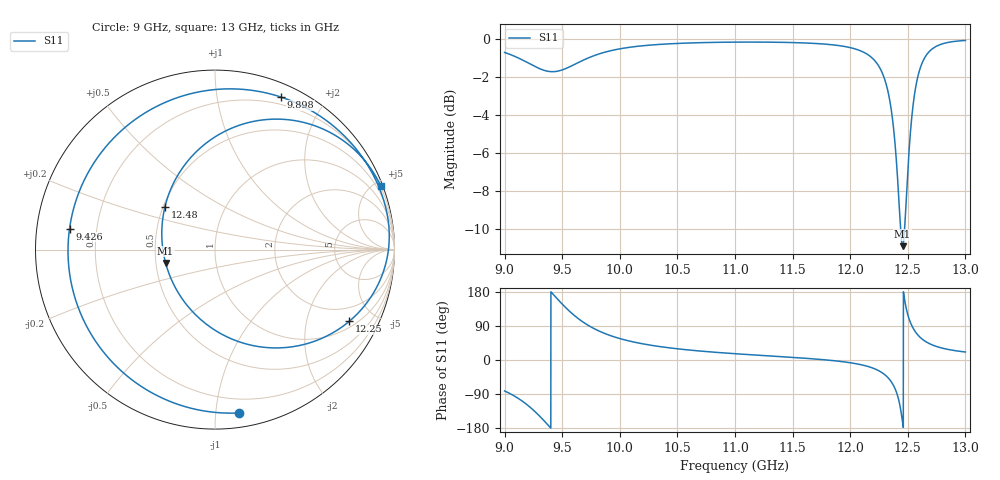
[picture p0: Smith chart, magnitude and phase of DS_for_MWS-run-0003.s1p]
! TOUCHSTONE file generated by CST DESIGN STUDIO
! Date and time: Wed Feb  5 13:32:10 2025
! Project name: C:\Work\MatlabApps\UnitCellOptimizationMatlab\CST\unitcell.cst
! Tree item: Tasks\Sweep1\SPara1\S-Parameters
! Header version: 2024
! Port assignment regex: !\s*Touchstone port\s*([0-9]+)\s*=\s*(CST MWS port|CST DES external port|CST DES block port)\s*(.+)\s* \(\"(.*)\"\)(\s*mode\s*([0-9]+))?.*
! Touchstone port assignment:
! Touchstone port 1 = CST DES external port 1 ("")
# GHz S MA R 50
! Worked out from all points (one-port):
!   4001 points, 9 GHz to 13 GHz, reference 50 ohm
!   lowest |S11| = -10.9 dB at 12.46 GHz (marker M1), VSWR 1.80, Z = 28.2 - j4.53 ohm
!   |S11| at or under -10 dB: 12.43771 GHz to 12.47218 GHz (34.48 MHz wide, 0.277 % of centre)
!   S11 on the Smith chart (normalised r, x): 9 GHz: 0.10, -1.15; 9.426 GHz: 0.10, +0.07; 9.898 GHz: 0.13, +1.51; 12.25 GHz: 1.26, -3.58; 12.48 GHz: 0.51, +0.28; 13 GHz: 0.16, +5.36
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9  0.9198 -81.7
9.121  0.8891 -101.8
9.219  0.8587 -124.0
9.334  0.8272 -157.5
9.426  0.8189 171.8
9.5  0.8276 147.5
9.582  0.8482 123.5
9.667  0.8734 103.0
9.898  0.926 66.6
10  0.9401 56.6
10.215  0.9589 41.8
10.5  0.9714 29.6
11  0.9791 16.6
11.5  0.9766 6.9
12  0.9471 -7.2
12.247  0.8479 -28.1
12.318  0.7478 -43.5
12.379  0.5714 -69.0
12.417  0.4027 -100.3
12.455  0.285 -165.0
12.484  0.366 139.7
12.5  0.449 119.4
12.532  0.6106 92.5
12.567  0.7414 73.9
12.621  0.8582 56.1
12.681  0.9211 44.2
12.804  0.9698 30.9
13  0.989 21.1
